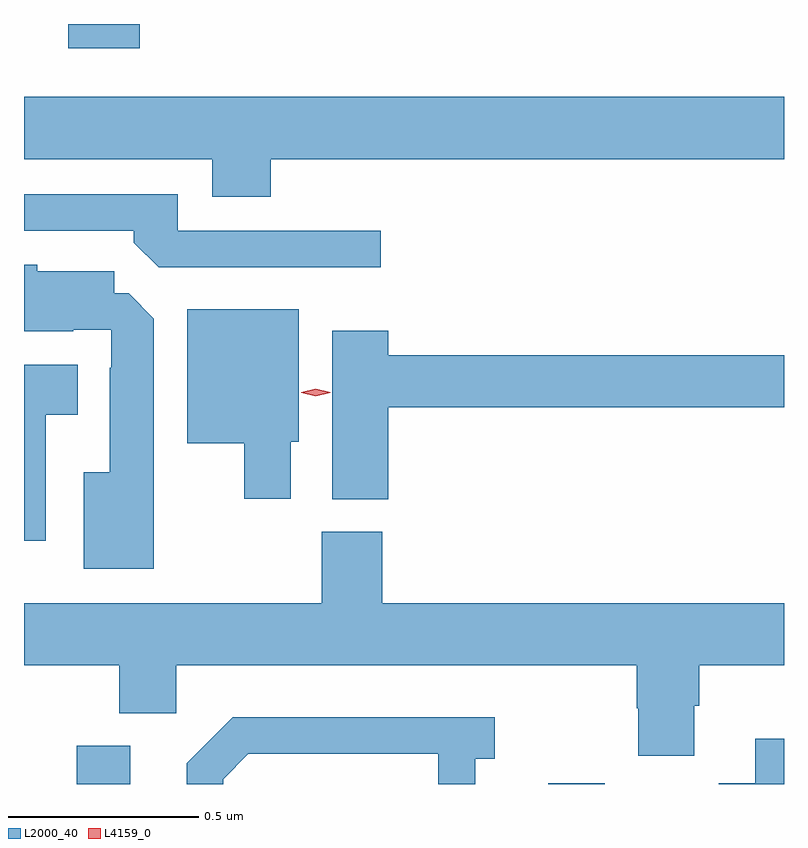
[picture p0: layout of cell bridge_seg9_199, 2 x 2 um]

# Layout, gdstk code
import gdstk
lib = gdstk.Library(unit=1e-6, precision=1e-09)
def R(c, l, rs):  # rectangles x0, y0, x1, y1
    for r in rs: c.add(gdstk.rectangle(r[:2], r[2:], *l))
def P(c, l, *ps):  # polygons
    for p in ps: c.add(gdstk.Polygon(p, *l))
L2000_40 = (2000, 40)
L4159_0 = (4159, 0)

bridge_seg9_199 = lib.new_cell('bridge_seg9_199')
R(bridge_seg9_199, L2000_40, [(171.338,1188.116,171.478,1188.217), (172.579,1188.116,172.727,1188.118), (171.315,1190.052,171.503,1190.116)])
P(bridge_seg9_199, L2000_40, [(171.848,1189.76),(173.199,1189.76),(173.199,1189.924),(171.199,1189.924),(171.199,1189.76),(171.695,1189.76),(171.695,1189.661),(171.848,1189.661)],
  [(172.138,1189.572),(171.603,1189.572),(171.603,1189.668),(171.199,1189.668),(171.199,1189.572),(171.488,1189.572),(171.488,1189.541),(171.553,1189.476),(172.138,1189.476)],
  [(171.541,1189.341),(171.475,1189.408),(171.437,1189.408),(171.437,1189.465),(171.234,1189.465),(171.234,1189.483),(171.199,1189.483),(171.199,1189.307),(171.329,1189.307),(171.329,1189.311),(171.429,1189.311),(171.429,1189.211),(171.425,1189.211),(171.425,1188.937),(171.356,1188.937),(171.356,1188.683),(171.541,1188.683)],
  [(171.901,1189.017),(171.922,1189.017),(171.922,1189.366),(171.629,1189.366),(171.629,1189.013),(171.779,1189.013),(171.779,1188.867),(171.901,1188.867)],
  [(172.157,1189.108),(173.199,1189.108),(173.199,1189.244),(172.157,1189.244),(172.157,1189.309),(172.01,1189.309),(172.01,1188.865),(172.157,1188.865)],
  [(171.256,1189.088),(171.34,1189.088),(171.34,1189.219),(171.199,1189.219),(171.199,1188.756),(171.256,1188.756)],
  [(172.963,1188.322),(172.976,1188.322),(172.976,1188.428),(173.199,1188.428),(173.199,1188.592),(172.142,1188.592),(172.142,1188.78),(171.982,1188.78),(171.982,1188.592),(171.199,1188.592),(171.199,1188.428),(171.449,1188.428),(171.449,1188.302),(171.6,1188.302),(171.6,1188.428),(172.811,1188.428),(172.811,1188.315),(172.816,1188.315),(172.816,1188.19),(172.963,1188.19)],
  [(171.723,1188.129),(171.789,1188.195),(172.289,1188.195),(172.289,1188.116),(172.386,1188.116),(172.386,1188.182),(172.438,1188.182),(172.438,1188.292),(171.748,1188.292),(171.627,1188.171),(171.627,1188.116),(171.723,1188.116)],
  [(173.199,1188.235),(173.123,1188.235),(173.123,1188.118),(173.027,1188.118),(173.027,1188.116),(173.199,1188.116)])
P(bridge_seg9_199, L4159_0, [(171.967,1189.136),(171.929,1189.146),(171.929,1189.146),(171.929,1189.147),(171.967,1189.156),(172.005,1189.147),(172.005,1189.146),(172.005,1189.146)])

lib.write_gds('bridge_seg9_199.gds')
